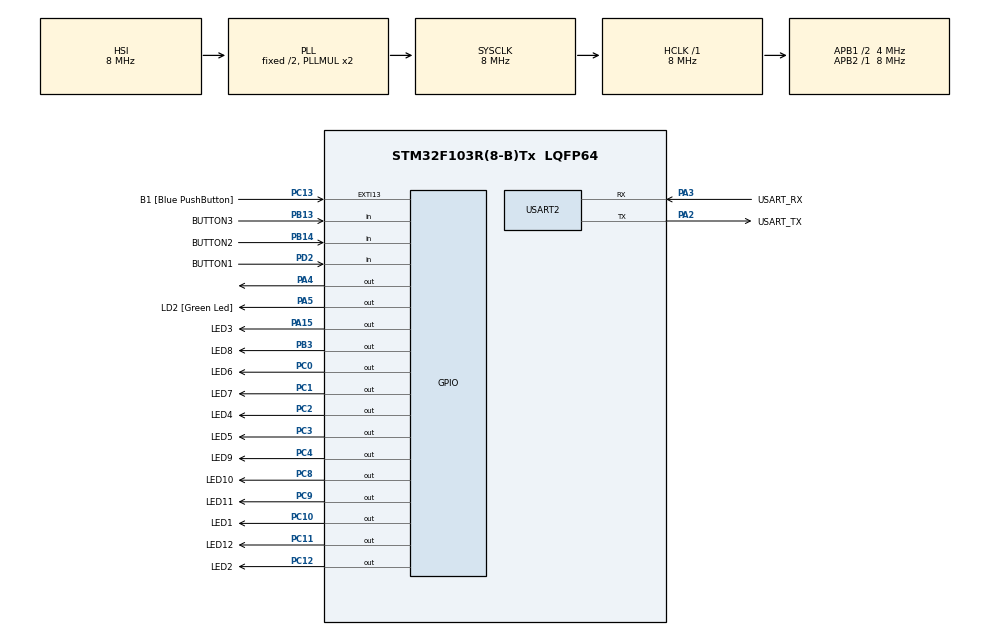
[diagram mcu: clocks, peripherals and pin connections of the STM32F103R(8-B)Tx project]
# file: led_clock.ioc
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Mcu.Family=STM32F1
Mcu.Name=STM32F103R(8-B)Tx
Mcu.Package=LQFP64
NVIC.EXTI15_10_IRQn=true\:0\:0\:false\:false\:true\:true\:true\:true
NVIC.PriorityGroup=NVIC_PRIORITYGROUP_4
NVIC.RCC_IRQn=true\:0\:0\:false\:false\:true\:true\:false\:true
NVIC.TIM2_IRQn=true\:0\:0\:false\:false\:true\:true\:true\:true
NVIC.USART2_IRQn=true\:0\:0\:false\:false\:true\:true\:true\:true
PA13.GPIO_Label=TMS
PA13.Mode=Serial_Wire
PA13.Signal=SYS_JTMS-SWDIO
PA14.GPIO_Label=TCK
PA14.Mode=Serial_Wire
PA14.Signal=SYS_JTCK-SWCLK
PA15.GPIO_Label=LED3
PA15.Signal=GPIO_Output
PA2.GPIO_Label=USART_TX
PA2.GPIO_Mode=GPIO_MODE_AF_PP
PA2.GPIO_PuPd=GPIO_NOPULL
PA2.GPIO_Speed=GPIO_SPEED_FREQ_LOW
PA2.Mode=Asynchronous
PA2.Signal=USART2_TX
PA3.GPIO_Label=USART_RX
PA3.GPIO_Mode=GPIO_MODE_AF_PP
PA3.GPIO_PuPd=GPIO_NOPULL
PA3.GPIO_Speed=GPIO_SPEED_FREQ_LOW
PA3.Mode=Asynchronous
PA3.Signal=USART2_RX
PA4.Signal=GPIO_Output
PA5.GPIO_Label=LD2 [Green Led]
PA5.GPIO_ModeDefaultOutputPP=GPIO_MODE_OUTPUT_PP
PA5.GPIO_PuPd=GPIO_NOPULL
PA5.GPIO_Speed=GPIO_SPEED_FREQ_LOW
PA5.Signal=GPIO_Output
PB13.GPIO_Label=BUTTON3
PB13.GPIO_PuPd=GPIO_PULLUP
PB13.Signal=GPIO_Input
PB14.GPIO_Label=BUTTON2
PB14.GPIO_PuPd=GPIO_PULLUP
PB14.Signal=GPIO_Input
PB3.GPIO_Label=LED8
PB3.Signal=GPIO_Output
PC0.GPIO_Label=LED6
PC0.Signal=GPIO_Output
PC1.GPIO_Label=LED7
PC1.Signal=GPIO_Output
PC10.GPIO_Label=LED1
PC10.Signal=GPIO_Output
PC11.GPIO_Label=LED12
PC11.Signal=GPIO_Output
PC12.GPIO_Label=LED2
PC12.Signal=GPIO_Output
PC13-TAMPER-RTC.GPIO_Label=B1 [Blue PushButton]
PC13-TAMPER-RTC.GPIO_PuPd=GPIO_NOPULL
PC13-TAMPER-RTC.Signal=GPXTI13
PC14-OSC32_IN.Mode=LSE-External-Oscillator
PC14-OSC32_IN.Signal=RCC_OSC32_IN
PC15-OSC32_OUT.Mode=LSE-External-Oscillator
PC15-OSC32_OUT.Signal=RCC_OSC32_OUT
PC2.GPIO_Label=LED4
PC2.Signal=GPIO_Output
PC3.GPIO_Label=LED5
PC3.Signal=GPIO_Output
PC4.GPIO_Label=LED9
PC4.Signal=GPIO_Output
PC8.GPIO_Label=LED10
PC8.Signal=GPIO_Output
PC9.GPIO_Label=LED11
PC9.Signal=GPIO_Output
PD0-OSC_IN.Mode=HSE-External-Clock-Source
PD0-OSC_IN.Signal=RCC_OSC_IN
PD1-OSC_OUT.Mode=HSE-External-Clock-Source
PD1-OSC_OUT.Signal=RCC_OSC_OUT
PD2.GPIO_Label=BUTTON1
PD2.GPIO_PuPd=GPIO_PULLUP
PD2.Signal=GPIO_Input
ProjectManager.HeapSize=0x200
ProjectManager.StackSize=0x400
ProjectManager.TargetToolchain=STM32CubeIDE
RCC.AHBFreq_Value=8000000
RCC.APB1CLKDivider=RCC_HCLK_DIV2
RCC.APB1Freq_Value=4000000
RCC.APB1TimFreq_Value=8000000
RCC.APB2Freq_Value=8000000
RCC.APB2TimFreq_Value=8000000
RCC.HCLKFreq_Value=8000000
RCC.RTCClockSelection=RCC_RTCCLKSOURCE_LSE
RCC.SYSCLKFreq_VALUE=8000000
RCC.SYSCLKSource=RCC_SYSCLKSOURCE_PLLCLK
RCC.USBFreq_Value=8000000
TIM2.Period=9
TIM2.Prescaler=7999
USART2.VirtualMode=VM_ASYNC
VP_TIM2_VS_ClockSourceINT.Mode=Internal
board=NUCLEO-F103RB

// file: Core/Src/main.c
/* USER CODE BEGIN Header */
/**
  ******************************************************************************
  * @file           : main.c
  * @brief          : Main program body
  ******************************************************************************
  * @attention
  *
  * Copyright (c) 2022 STMicroelectronics.
  * All rights reserved.
  *
  * This software is licensed under terms that can be found in the LICENSE file
  * in the root directory of this software component.
  * If no LICENSE file comes with this software, it is provided AS-IS.
  *
  ******************************************************************************
  */
/* USER CODE END Header */
#include "main.h"
#include "tim.h"
#include "usart.h"
#include "gpio.h"

/* USER CODE BEGIN Includes */
#include "button.h"
#include <stdio.h>
#include "software_timer.h"
#include "global.h"
/* USER CODE END Includes */

void SystemClock_Config(void);

/* USER CODE BEGIN 0 */
void UARTOutput(int inpNum){
	char str[50];
	int nChar = sprintf(str, "!Time: %d#\r\n", inpNum);
	HAL_UART_Transmit(&huart2, (uint8_t *)str, nChar, 1000);
}
/* USER CODE END 0 */

int main(void)
{

  /* MCU Configuration--------------------------------------------------------*/

  /* Reset of all peripherals, Initializes the Flash interface and the Systick. */
  HAL_Init();

  /* Configure the system clock */
  SystemClock_Config();

  /* Initialize all configured peripherals */
  MX_GPIO_Init();
  MX_TIM2_Init();
  MX_USART2_UART_Init();
  /* USER CODE BEGIN 2 */
  HAL_TIM_Base_Start_IT(&htim2);

  /* USER CODE END 2 */

  /* Infinite loop */
  /* USER CODE BEGIN WHILE */
  setTimer0(100);
  setTimer1(100);
  while (1)
  {
	  fsm_led_clock();

    /* USER CODE END WHILE */

  }
}

void SystemClock_Config(void)
{
  RCC_OscInitTypeDef RCC_OscInitStruct = {0};
  RCC_ClkInitTypeDef RCC_ClkInitStruct = {0};

  /** Initializes the RCC Oscillators according to the specified parameters
  * in the RCC_OscInitTypeDef structure.
  */
  RCC_OscInitStruct.OscillatorType = RCC_OSCILLATORTYPE_HSI;
  RCC_OscInitStruct.HSIState = RCC_HSI_ON;
  RCC_OscInitStruct.HSICalibrationValue = RCC_HSICALIBRATION_DEFAULT;
  RCC_OscInitStruct.PLL.PLLState = RCC_PLL_ON;
  RCC_OscInitStruct.PLL.PLLSource = RCC_PLLSOURCE_HSI_DIV2;
  RCC_OscInitStruct.PLL.PLLMUL = RCC_PLL_MUL2;
  if (HAL_RCC_OscConfig(&RCC_OscInitStruct) != HAL_OK)
  {
    Error_Handler();
  }

  /** Initializes the CPU, AHB and APB buses clocks
  */
  RCC_ClkInitStruct.ClockType = RCC_CLOCKTYPE_HCLK|RCC_CLOCKTYPE_SYSCLK
                              |RCC_CLOCKTYPE_PCLK1|RCC_CLOCKTYPE_PCLK2;
  RCC_ClkInitStruct.SYSCLKSource = RCC_SYSCLKSOURCE_PLLCLK;
  RCC_ClkInitStruct.AHBCLKDivider = RCC_SYSCLK_DIV1;
  RCC_ClkInitStruct.APB1CLKDivider = RCC_HCLK_DIV2;
  RCC_ClkInitStruct.APB2CLKDivider = RCC_HCLK_DIV1;

  if (HAL_RCC_ClockConfig(&RCC_ClkInitStruct, FLASH_LATENCY_0) != HAL_OK)
  {
    Error_Handler();
  }
}

/* USER CODE BEGIN 4 */
void HAL_TIM_PeriodElapsedCallback(TIM_HandleTypeDef *htim){
	timer_run();
	button_reading();
}
/* USER CODE END 4 */

void Error_Handler(void)
{
  __disable_irq();
  while (1)
  {
  }
}
